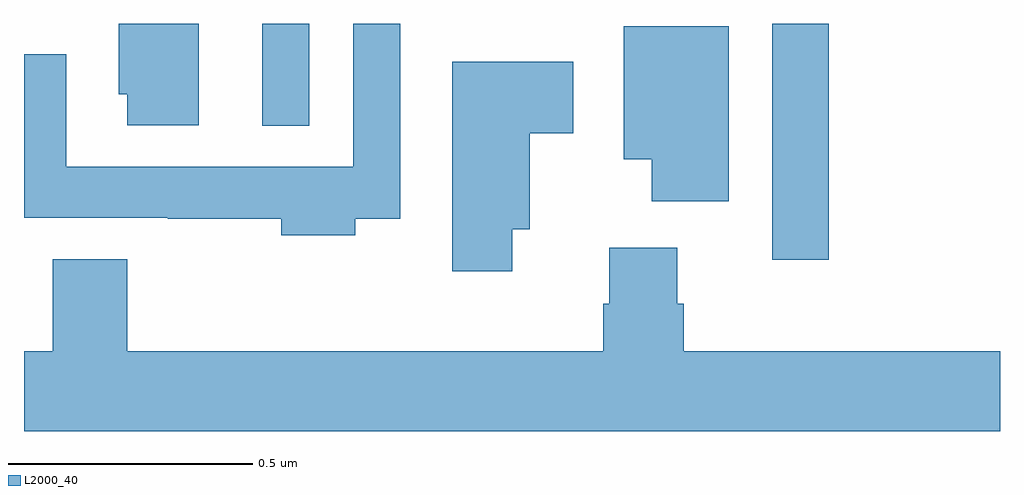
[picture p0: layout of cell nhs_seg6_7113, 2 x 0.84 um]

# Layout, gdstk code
import gdstk
lib = gdstk.Library(unit=1e-6, precision=1e-09)
def R(c, l, rs):  # rectangles x0, y0, x1, y1
    for r in rs: c.add(gdstk.rectangle(r[:2], r[2:], *l))
def P(c, l, *ps):  # polygons
    for p in ps: c.add(gdstk.Polygon(p, *l))
L2000_40 = (2000, 40)

nhs_seg6_7113 = lib.new_cell('nhs_seg6_7113')
R(nhs_seg6_7113, L2000_40, [(205.533,953.016,205.649,953.5), (204.488,953.291,204.585,953.5)])
P(nhs_seg6_7113, L2000_40, [(204.358,953.5),(204.194,953.5),(204.194,953.355),(204.212,953.355),(204.212,953.292),(204.358,953.292)],
  [(204.679,953.1),(204.771,953.1),(204.771,953.5),(204.675,953.5),(204.675,953.206),(204.087,953.206),(204.087,953.437),(204,953.437),(204,953.102),(204.295,953.102),(204.295,953.1),(204.527,953.1),(204.527,953.066),(204.679,953.066)],
  [(205.444,953.494),(205.229,953.494),(205.229,953.222),(205.286,953.222),(205.286,953.136),(205.444,953.136)],
  [(205,953.078),(205.036,953.078),(205.036,953.275),(205.126,953.275),(205.126,953.422),(204.878,953.422),(204.878,952.992),(205,952.992)],
  [(206,952.828),(205.352,952.828),(205.352,952.926),(205.339,952.926),(205.339,953.041),(205.199,953.041),(205.199,952.926),(205.187,952.926),(205.187,952.828),(204.212,952.828),(204.212,953.017),(204.059,953.017),(204.059,952.828),(204,952.828),(204,952.664),(206,952.664)])

lib.write_gds('nhs_seg6_7113.gds')
